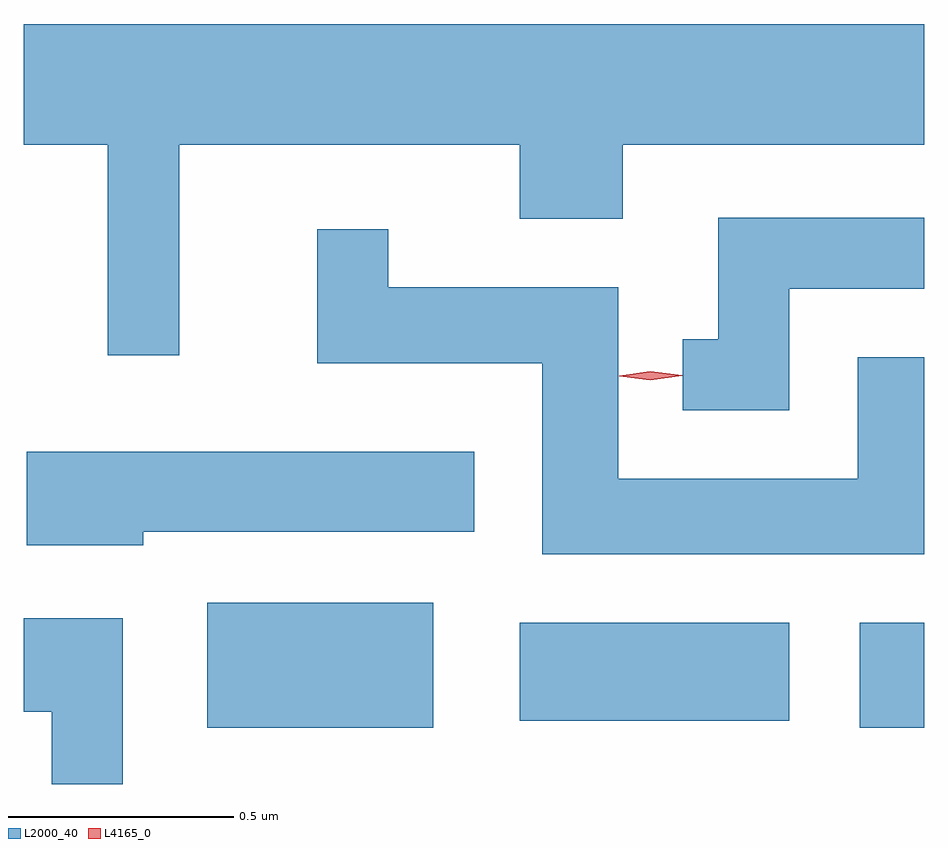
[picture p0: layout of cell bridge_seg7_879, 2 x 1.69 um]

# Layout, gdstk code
import gdstk
lib = gdstk.Library(unit=1e-6, precision=1e-09)
def R(c, l, rs):  # rectangles x0, y0, x1, y1
    for r in rs: c.add(gdstk.rectangle(r[:2], r[2:], *l))
def P(c, l, *ps):  # polygons
    for p in ps: c.add(gdstk.Polygon(p, *l))
L2000_40 = (2000, 40)
L4165_0 = (4165, 0)

bridge_seg7_879 = lib.new_cell('bridge_seg7_879')
R(bridge_seg7_879, L2000_40, [(317.416,1673.061,317.919,1673.339), (318.866,1673.061,319.009,1673.294), (318.111,1673.076,318.709,1673.294)])
P(bridge_seg7_879, L2000_40, [(317.354,1674.356),(318.111,1674.356),(318.111,1674.191),(318.339,1674.191),(318.339,1674.356),(319.009,1674.356),(319.009,1674.624),(317.009,1674.624),(317.009,1674.356),(317.196,1674.356),(317.196,1673.888),(317.354,1673.888)],
  [(318.709,1674.036),(319.009,1674.036),(319.009,1674.194),(318.551,1674.194),(318.551,1673.924),(318.473,1673.924),(318.473,1673.766),(318.709,1673.766)],
  [(319.009,1673.884),(318.861,1673.884),(318.861,1673.614),(318.329,1673.614),(318.329,1674.039),(317.819,1674.039),(317.819,1674.168),(317.661,1674.168),(317.661,1673.871),(318.161,1673.871),(318.161,1673.446),(319.009,1673.446)],
  [(317.274,1673.496),(318.009,1673.496),(318.009,1673.674),(317.016,1673.674),(317.016,1673.466),(317.274,1673.466)],
  [(317.229,1673.304),(317.009,1673.304),(317.009,1673.096),(317.071,1673.096),(317.071,1672.936),(317.229,1672.936)])
P(bridge_seg7_879, L4165_0, [(318.401,1673.833),(318.332,1673.842),(318.332,1673.843),(318.332,1673.843),(318.401,1673.853),(318.471,1673.844),(318.471,1673.844),(318.471,1673.843)])

lib.write_gds('bridge_seg7_879.gds')
